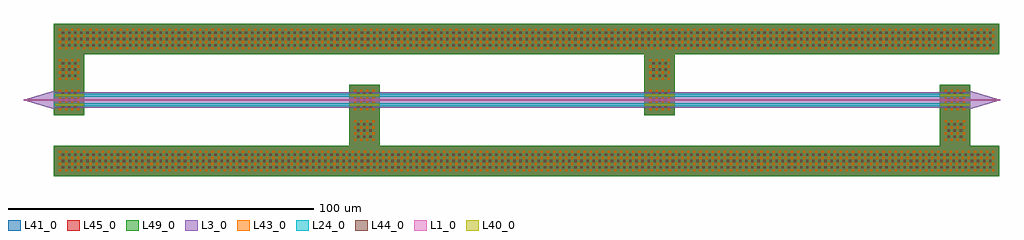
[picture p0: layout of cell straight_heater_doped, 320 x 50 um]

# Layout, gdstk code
from math import pi, radians
import gdstk
lib = gdstk.Library(unit=1e-6, precision=1e-09)
def R(c, l, rs):  # rectangles x0, y0, x1, y1
    for r in rs: c.add(gdstk.rectangle(r[:2], r[2:], *l))
def P(c, l, *ps):  # polygons
    for p in ps: c.add(gdstk.Polygon(p, *l))
L1_0 = (1, 0)
L3_0 = (3, 0)
L24_0 = (24, 0)
L40_0 = (40, 0)
L41_0 = (41, 0)
L43_0 = (43, 0)
L44_0 = (44, 0)
L45_0 = (45, 0)
L49_0 = (49, 0)

straight_cross_sectionr_ = lib.new_cell('straight_cross_sectionr_186ce7d3')
R(straight_cross_sectionr_, L1_0, [(0,-0.25,0.2,0.25)])
R(straight_cross_sectionr_, L3_0, [(0,-2.5,0.2,2.5)])
R(straight_cross_sectionr_, L24_0, [(0,-2.05,0.2,-1.05), (0,1.05,0.2,2.05)])

c_straight_cross_sectionr_ = lib.new_cell('straight_cross_sectionr_ad32a600')
R(c_straight_cross_sectionr_, L1_0, [(0,-0.25,9.4,0.25)])
R(c_straight_cross_sectionr_, L3_0, [(0,-2.5,9.4,2.5)])
R(c_straight_cross_sectionr_, L24_0, [(0,-2.05,9.4,-1.05), (0,1.05,9.4,2.05)])
R(c_straight_cross_sectionr_, L40_0, [(0,-1.85,9.4,-1.25), (0,1.25,9.4,1.85)])

c_straight_cross_sectionr__ = lib.new_cell('straight_cross_sectionr_687ca1c7')
R(c_straight_cross_sectionr__, L1_0, [(0,-0.25,87.2,0.25)])
R(c_straight_cross_sectionr__, L3_0, [(0,-2.5,87.2,2.5)])
R(c_straight_cross_sectionr__, L24_0, [(0,-2.05,87.2,-1.05), (0,1.05,87.2,2.05)])

c_straight_cross_sectionr___ = lib.new_cell('straight_cross_sectionr_449bee5c')
R(c_straight_cross_sectionr___, L1_0, [(0,-0.25,9.6,0.25)])
R(c_straight_cross_sectionr___, L3_0, [(0,-2.5,9.6,2.5)])
R(c_straight_cross_sectionr___, L24_0, [(0,-2.05,9.6,-1.05), (0,1.05,9.6,2.05)])
R(c_straight_cross_sectionr___, L40_0, [(0,-1.85,9.6,-1.25), (0,1.25,9.6,1.85)])

rectangle_layer41_0_size = lib.new_cell('rectangle_layer41_0_size10_10')
R(rectangle_layer41_0_size, L41_0, [(0,0,10,10)])

compass_layer41_0_size10 = lib.new_cell('compass_layer41_0_size10_10')
compass_layer41_0_size10.add(gdstk.Reference(rectangle_layer41_0_size, (-5,-5)))

rectangle_layer45_0_size = lib.new_cell('rectangle_layer45_0_size10_10')
R(rectangle_layer45_0_size, L45_0, [(0,0,10,10)])

compass_layer45_0_size10 = lib.new_cell('compass_layer45_0_size10_10')
compass_layer45_0_size10.add(gdstk.Reference(rectangle_layer45_0_size, (-5,-5)))

rectangle_layer49_0_size = lib.new_cell('rectangle_layer49_0_size10_10')
R(rectangle_layer49_0_size, L49_0, [(0,0,10,10)])

compass_layer49_0_size10 = lib.new_cell('compass_layer49_0_size10_10')
compass_layer49_0_size10.add(gdstk.Reference(rectangle_layer49_0_size, (-5,-5)))

via_enclosure2_layer44_0 = lib.new_cell('via_enclosure2_layer44_0')
R(via_enclosure2_layer44_0, L44_0, [(-0.35,-0.35,0.35,0.35)])

via_layer43_0 = lib.new_cell('via_layer43_0')
R(via_layer43_0, L43_0, [(-0.35,-0.35,0.35,0.35)])

via_stack_layers41_0_45_ = lib.new_cell('via_stack_layers41_0_45_70b2fdcd')
via_stack_layers41_0_45_.add(gdstk.Reference(compass_layer41_0_size10, (0,0)))
via_stack_layers41_0_45_.add(gdstk.Reference(compass_layer45_0_size10, (0,0)))
via_stack_layers41_0_45_.add(gdstk.Reference(compass_layer49_0_size10, (0,0)))
r = gdstk.Reference(via_enclosure2_layer44_0, (-2,-2)); r.repetition = gdstk.Repetition(3, 3, v1=(2,0), v2=(0,2)); via_stack_layers41_0_45_.add(r)
r = gdstk.Reference(via_layer43_0, (-3,-3)); r.repetition = gdstk.Repetition(4, 4, v1=(2,0), v2=(0,2)); via_stack_layers41_0_45_.add(r)

taper_strip_to_ridge = lib.new_cell('taper_strip_to_ridge')
R(taper_strip_to_ridge, L1_0, [(0,-0.25,10,0.25)])
P(taper_strip_to_ridge, L3_0, [(0,0.075),(10,3),(10,-3),(0,-0.075)])

c_rectangle_layer41_0_size = lib.new_cell('rectangle_layer41_0_size310_10')
R(c_rectangle_layer41_0_size, L41_0, [(0,0,310,10)])

compass_layer41_0_size31 = lib.new_cell('compass_layer41_0_size310_10')
compass_layer41_0_size31.add(gdstk.Reference(c_rectangle_layer41_0_size, (-155,-5)))

c_rectangle_layer45_0_size = lib.new_cell('rectangle_layer45_0_size310_10')
R(c_rectangle_layer45_0_size, L45_0, [(0,0,310,10)])

compass_layer45_0_size31 = lib.new_cell('compass_layer45_0_size310_10')
compass_layer45_0_size31.add(gdstk.Reference(c_rectangle_layer45_0_size, (-155,-5)))

c_rectangle_layer49_0_size = lib.new_cell('rectangle_layer49_0_size310_10')
R(c_rectangle_layer49_0_size, L49_0, [(0,0,310,10)])

compass_layer49_0_size31 = lib.new_cell('compass_layer49_0_size310_10')
compass_layer49_0_size31.add(gdstk.Reference(c_rectangle_layer49_0_size, (-155,-5)))

c_via_stack_layers41_0_45_ = lib.new_cell('via_stack_layers41_0_45_57f2d8a7')
c_via_stack_layers41_0_45_.add(gdstk.Reference(compass_layer41_0_size31, (0,0)))
c_via_stack_layers41_0_45_.add(gdstk.Reference(compass_layer45_0_size31, (0,0)))
c_via_stack_layers41_0_45_.add(gdstk.Reference(compass_layer49_0_size31, (0,0)))
r = gdstk.Reference(via_enclosure2_layer44_0, (-152,-2)); r.repetition = gdstk.Repetition(153, 3, v1=(2,0), v2=(0,2)); c_via_stack_layers41_0_45_.add(r)
r = gdstk.Reference(via_layer43_0, (-153,-3)); r.repetition = gdstk.Repetition(154, 4, v1=(2,0), v2=(0,2)); c_via_stack_layers41_0_45_.add(r)

straight_heater_doped = lib.new_cell('straight_heater_doped')
straight_heater_doped.add(gdstk.Reference(straight_cross_sectionr_, (0,0)))
straight_heater_doped.add(gdstk.Reference(c_straight_cross_sectionr_, (0.2,0)))
straight_heater_doped.add(gdstk.Reference(c_straight_cross_sectionr__, (9.6,0)))
straight_heater_doped.add(gdstk.Reference(c_straight_cross_sectionr___, (96.8,0)))
straight_heater_doped.add(gdstk.Reference(c_straight_cross_sectionr__, (106.4,0)))
straight_heater_doped.add(gdstk.Reference(c_straight_cross_sectionr___, (193.6,0)))
straight_heater_doped.add(gdstk.Reference(c_straight_cross_sectionr__, (203.2,0)))
straight_heater_doped.add(gdstk.Reference(c_straight_cross_sectionr___, (290.4,0)))
straight_heater_doped.add(gdstk.Reference(via_stack_layers41_0_45_, (4.8,0)))
straight_heater_doped.add(gdstk.Reference(via_stack_layers41_0_45_, (4.8,10)))
straight_heater_doped.add(gdstk.Reference(via_stack_layers41_0_45_, (101.6,0)))
straight_heater_doped.add(gdstk.Reference(via_stack_layers41_0_45_, (101.6,-10)))
straight_heater_doped.add(gdstk.Reference(via_stack_layers41_0_45_, (198.4,0)))
straight_heater_doped.add(gdstk.Reference(via_stack_layers41_0_45_, (198.4,10)))
straight_heater_doped.add(gdstk.Reference(via_stack_layers41_0_45_, (295.2,0)))
straight_heater_doped.add(gdstk.Reference(via_stack_layers41_0_45_, (295.2,-10)))
straight_heater_doped.add(gdstk.Reference(taper_strip_to_ridge, (-10,0)))
straight_heater_doped.add(gdstk.Reference(taper_strip_to_ridge, (310,0), rotation=pi))
straight_heater_doped.add(gdstk.Reference(c_via_stack_layers41_0_45_, (154.8,20)))
straight_heater_doped.add(gdstk.Reference(c_via_stack_layers41_0_45_, (154.8,-20)))

lib.write_gds('straight_heater_doped.gds')
